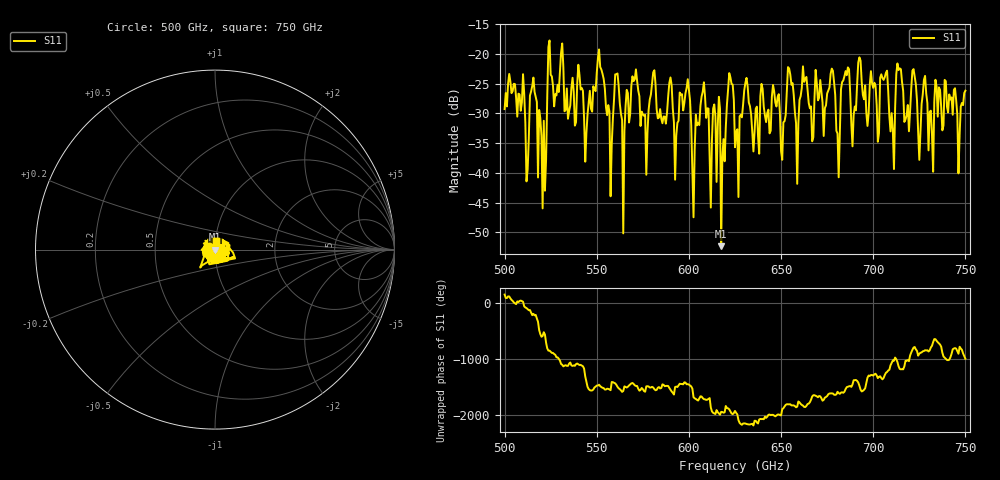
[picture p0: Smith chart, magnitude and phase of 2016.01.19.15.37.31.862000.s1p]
!Created with skrf (http://scikit-rf.org).
# GHz S RI R 50.0
!freq ReS11 ImS11
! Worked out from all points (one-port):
!   401 points, 500 GHz to 750 GHz, reference 50 ohm
!   lowest |S11| = -52.3 dB at 617.5 GHz (marker M1), VSWR 1.00, Z = 49.8 - j0.117 ohm
!   |S11| at or under -10 dB: start of sweep to end of sweep
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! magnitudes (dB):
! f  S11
! 500 GHz  -29.3
! 512.5 GHz  -39.5
! 515.6 GHz  -24.0
! 521.2 GHz  -31.2
! 524.4 GHz  -17.7
! 531.2 GHz  -18.3
! 544.4 GHz  -33.3
! 551.2 GHz  -19.3
! 556.9 GHz  -29.7
! 562.5 GHz  -28.3
! 563.8 GHz  -31.1
! 570.6 GHz  -24.3
! 576.2 GHz  -30.2
! 580.6 GHz  -23.1
! 593.8 GHz  -31.6
! 599.4 GHz  -24.3
! 603.1 GHz  -36.2
! 607.5 GHz  -26.4
! 617.5 GHz  -52.3
! 622.5 GHz  -23.9
! 625 GHz  -35.7
! 656.2 GHz  -24.9
! 687.5 GHz  -26.6
! 706.2 GHz  -23.9
! 710 GHz  -30.0
! 713.8 GHz  -22.7
! 718.8 GHz  -28.6
! 750 GHz  -26.2
